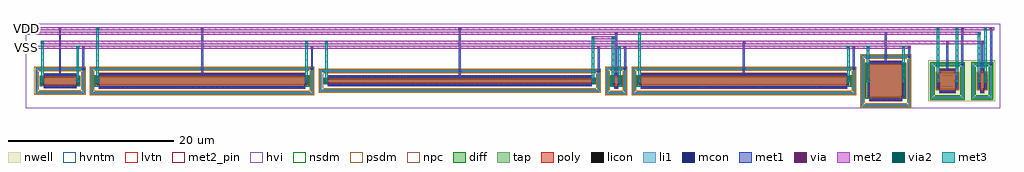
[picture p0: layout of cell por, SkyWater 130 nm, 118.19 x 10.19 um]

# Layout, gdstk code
import gdstk
lib = gdstk.Library(unit=1e-6, precision=1e-09)
def R(c, l, rs):  # rectangles x0, y0, x1, y1
    for r in rs: c.add(gdstk.rectangle(r[:2], r[2:], *l))
def A(c, l, x, y, w, h, nx, ny, dx, dy):  # array of equal rectangles
    R(c, l, [(x+i*dx, y+j*dy, x+i*dx+w, y+j*dy+h) for i in range(nx) for j in range(ny)])
nwell = (64, 20)
diff = (65, 20)
tap = (65, 44)
poly = (66, 20)
licon = (66, 44)
li1 = (67, 20)
mcon = (67, 44)
met1 = (68, 20)
via = (68, 44)
met2_pin = (69, 16)
met2 = (69, 20)
via2 = (69, 44)
met3 = (70, 20)
hvi = (75, 20)
nsdm = (93, 44)
psdm = (94, 20)
npc = (95, 20)
hvntm = (125, 20)
lvtn = (125, 44)

por = lib.new_cell('por')
R(por, nwell, [(109.32,0.81,113.9,5.78), (109.32,0.81,117.38,5.78), (114.3,0.81,117.38,5.78)])
R(por, diff, [(101.875,1.295,106.455,5.295), (110.32,2.295,112.9,4.295), (115.3,2.295,116.38,4.295), (8.565,2.795,34.145,3.795), (70.975,2.795,72.055,3.795), (74.175,2.795,99.755,3.795), (1.865,2.845,6.445,3.745), (36.265,3.085,68.845,3.505)])
R(por, tap, [(101.195,0.185,107.135,0.475), (101.195,0.475,101.485,6.115), (106.845,0.475,107.135,6.115), (109.65,1.14,113.57,1.43), (114.63,1.14,117.05,1.43), (109.65,1.43,109.94,5.16), (113.28,1.43,113.57,5.16), (114.63,1.43,114.92,5.16), (116.76,1.43,117.05,5.16), (7.895,1.685,34.815,1.975), (70.295,1.685,72.735,1.975), (73.505,1.685,100.425,1.975), (1.185,1.735,7.125,2.025), (7.895,1.975,8.185,4.615), (34.525,1.975,34.815,4.615), (35.585,1.975,69.525,2.265), (70.295,1.975,70.585,4.615), (72.445,1.975,72.735,4.615), (73.505,1.975,73.795,4.615), (100.135,1.975,100.425,4.615), (1.185,2.025,1.475,4.565), (6.835,2.025,7.125,4.565), (35.585,2.265,35.875,4.325), (69.235,2.265,69.525,4.325), (35.585,4.325,69.525,4.615), (1.185,4.565,7.125,4.855), (7.895,4.615,34.815,4.905), (70.295,4.615,72.735,4.905), (73.505,4.615,100.425,4.905), (109.65,5.16,113.57,5.45), (114.63,5.16,117.05,5.45), (101.195,6.115,107.135,6.405)])
R(por, poly, [(102.165,0.855,106.165,5.735), (110.61,1.81,112.61,4.78), (115.59,1.81,116.09,4.78), (8.855,2.355,33.855,4.235), (71.265,2.355,71.765,4.235), (74.465,2.355,99.465,4.235), (2.155,2.405,6.155,4.185), (36.555,2.645,68.555,3.945)])
A(por, licon, 101.87, 0.245, 0.17, 0.17, 14, 2, 0.34, 5.93)
A(por, licon, 101.255, 0.83, 0.17, 0.17, 1, 15, 0, 0.34)
A(por, licon, 106.905, 0.83, 0.17, 0.17, 1, 15, 0, 0.34)
A(por, licon, 102.38, 0.935, 0.17, 0.17, 11, 2, 0.34, 4.55)
A(por, licon, 110.335, 1.2, 0.17, 0.17, 8, 2, 0.34, 4.02)
A(por, licon, 115.245, 1.2, 0.17, 0.17, 4, 2, 0.34, 4.02)
A(por, licon, 101.935, 1.51, 0.17, 0.17, 1, 11, 0, 0.34)
A(por, licon, 106.225, 1.51, 0.17, 0.17, 1, 11, 0, 0.34)
A(por, licon, 109.71, 1.68, 0.17, 0.17, 1, 10, 0, 0.34)
A(por, licon, 113.34, 1.68, 0.17, 0.17, 1, 10, 0, 0.34)
A(por, licon, 114.69, 1.68, 0.17, 0.17, 1, 10, 0, 0.34)
A(por, licon, 116.82, 1.68, 0.17, 0.17, 1, 10, 0, 0.34)
A(por, licon, 8.52, 1.745, 0.17, 0.17, 76, 2, 0.34, 2.93)
A(por, licon, 70.92, 1.745, 0.17, 0.17, 4, 2, 0.34, 2.93)
A(por, licon, 74.13, 1.745, 0.17, 0.17, 76, 2, 0.34, 2.93)
A(por, licon, 1.86, 1.795, 0.17, 0.17, 14, 2, 0.34, 2.83)
A(por, licon, 110.845, 1.89, 0.17, 0.17, 5, 2, 0.34, 2.64)
A(por, licon, 36.15, 2.035, 0.17, 0.17, 97, 2, 0.34, 2.35)
A(por, licon, 1.245, 2.36, 0.17, 0.17, 1, 6, 0, 0.34)
A(por, licon, 6.895, 2.36, 0.17, 0.17, 1, 6, 0, 0.34)
A(por, licon, 7.955, 2.36, 0.17, 0.17, 1, 6, 0, 0.34)
A(por, licon, 34.585, 2.36, 0.17, 0.17, 1, 6, 0, 0.34)
A(por, licon, 70.355, 2.36, 0.17, 0.17, 1, 6, 0, 0.34)
A(por, licon, 72.505, 2.36, 0.17, 0.17, 1, 6, 0, 0.34)
A(por, licon, 73.565, 2.36, 0.17, 0.17, 1, 6, 0, 0.34)
A(por, licon, 100.195, 2.36, 0.17, 0.17, 1, 6, 0, 0.34)
A(por, licon, 110.38, 2.36, 0.17, 0.17, 1, 6, 0, 0.34)
A(por, licon, 112.67, 2.36, 0.17, 0.17, 1, 6, 0, 0.34)
A(por, licon, 115.36, 2.36, 0.17, 0.17, 1, 6, 0, 0.34)
A(por, licon, 116.15, 2.36, 0.17, 0.17, 1, 6, 0, 0.34)
A(por, licon, 9.03, 2.435, 0.17, 0.17, 73, 2, 0.34, 1.55)
A(por, licon, 74.64, 2.435, 0.17, 0.17, 73, 2, 0.34, 1.55)
A(por, licon, 2.37, 2.485, 0.17, 0.17, 11, 2, 0.34, 1.45)
A(por, licon, 35.645, 2.53, 0.17, 0.17, 1, 5, 0, 0.34)
A(por, licon, 69.295, 2.53, 0.17, 0.17, 1, 5, 0, 0.34)
A(por, licon, 36.66, 2.725, 0.17, 0.17, 94, 2, 0.34, 0.97)
A(por, licon, 8.625, 2.87, 0.17, 0.17, 1, 3, 0, 0.34)
A(por, licon, 33.915, 2.87, 0.17, 0.17, 1, 3, 0, 0.34)
A(por, licon, 71.035, 2.87, 0.17, 0.17, 1, 3, 0, 0.34)
A(por, licon, 71.825, 2.87, 0.17, 0.17, 1, 3, 0, 0.34)
A(por, licon, 74.235, 2.87, 0.17, 0.17, 1, 3, 0, 0.34)
A(por, licon, 99.525, 2.87, 0.17, 0.17, 1, 3, 0, 0.34)
R(por, licon, [(115.755,1.89,115.925,2.06), (71.43,2.435,71.6,2.605), (1.925,3.04,2.095,3.21), (6.215,3.04,6.385,3.21), (36.325,3.21,36.495,3.38), (68.615,3.21,68.785,3.38), (1.925,3.38,2.095,3.55), (6.215,3.38,6.385,3.55), (71.43,3.985,71.6,4.155), (115.755,4.53,115.925,4.7)])
R(por, li1, [(101.255,0.245,107.075,0.415), (101.255,0.415,101.425,6.175), (106.905,0.415,107.075,6.175), (102.165,0.935,106.165,1.105), (109.71,1.2,113.51,1.37), (114.69,1.2,116.99,1.37), (101.935,1.275,102.105,5.315), (106.225,1.275,106.395,5.315), (109.71,1.37,109.88,5.22), (113.34,1.37,113.51,5.22), (114.69,1.37,114.86,5.22), (116.82,1.37,116.99,5.22), (7.955,1.745,34.755,1.915), (70.355,1.745,72.675,1.915), (73.565,1.745,100.365,1.915), (1.245,1.795,7.065,1.965), (110.61,1.89,112.61,2.06), (115.59,1.89,116.09,2.06), (7.955,1.915,8.125,4.675), (34.585,1.915,34.755,4.675), (70.355,1.915,70.525,4.675), (72.505,1.915,72.675,4.675), (73.565,1.915,73.735,4.675), (100.195,1.915,100.365,4.675), (1.245,1.965,1.415,4.625), (6.895,1.965,7.065,4.625), (35.645,2.035,69.465,2.205), (35.645,2.205,35.815,4.385), (69.295,2.205,69.465,4.385), (110.38,2.275,110.55,4.315), (112.67,2.275,112.84,4.315), (115.36,2.275,115.53,4.315), (116.15,2.275,116.32,4.315), (8.855,2.435,33.855,2.605), (71.265,2.435,71.765,2.605), (74.465,2.435,99.465,2.605), (2.155,2.485,6.155,2.655), (36.555,2.725,68.555,2.895), (8.625,2.775,8.795,3.815), (33.915,2.775,34.085,3.815), (71.035,2.775,71.205,3.815), (71.825,2.775,71.995,3.815), (74.235,2.775,74.405,3.815), (99.525,2.775,99.695,3.815), (1.925,2.825,2.095,3.765), (6.215,2.825,6.385,3.765), (36.325,3.065,36.495,3.525), (68.615,3.065,68.785,3.525), (36.555,3.695,68.555,3.865), (2.155,3.935,6.155,4.105), (8.855,3.985,33.855,4.155), (71.265,3.985,71.765,4.155), (74.465,3.985,99.465,4.155), (35.645,4.385,69.465,4.555), (110.61,4.53,112.61,4.7), (115.59,4.53,116.09,4.7), (1.245,4.625,7.065,4.795), (7.955,4.675,34.755,4.845), (70.355,4.675,72.675,4.845), (73.565,4.675,100.365,4.845), (109.71,5.22,113.51,5.39), (114.69,5.22,116.99,5.39), (102.165,5.485,106.165,5.655), (101.255,6.175,107.075,6.345)])
A(por, mcon, 102.28, 0.935, 0.17, 0.17, 11, 2, 0.36, 4.55)
A(por, mcon, 101.935, 1.41, 0.17, 0.17, 1, 11, 0, 0.36)
A(por, mcon, 106.225, 1.41, 0.17, 0.17, 1, 11, 0, 0.36)
A(por, mcon, 110.805, 1.89, 0.17, 0.17, 5, 2, 0.36, 2.64)
A(por, mcon, 9.03, 2.435, 0.17, 0.17, 69, 2, 0.36, 1.55)
A(por, mcon, 74.64, 2.435, 0.17, 0.17, 69, 2, 0.36, 1.55)
A(por, mcon, 2.27, 2.485, 0.17, 0.17, 11, 2, 0.36, 1.45)
A(por, mcon, 110.38, 2.49, 0.17, 0.17, 1, 5, 0, 0.36)
A(por, mcon, 112.67, 2.49, 0.17, 0.17, 1, 5, 0, 0.36)
A(por, mcon, 115.36, 2.49, 0.17, 0.17, 1, 5, 0, 0.36)
A(por, mcon, 116.15, 2.49, 0.17, 0.17, 1, 5, 0, 0.36)
A(por, mcon, 36.81, 2.725, 0.17, 0.17, 88, 2, 0.36, 0.97)
R(por, mcon, [(115.755,1.89,115.925,2.06), (71.43,2.435,71.6,2.605), (1.925,3.03,2.095,3.2), (6.215,3.03,6.385,3.2), (8.625,3.03,8.795,3.2), (33.915,3.03,34.085,3.2), (71.035,3.03,71.205,3.2), (71.825,3.03,71.995,3.2), (74.235,3.03,74.405,3.2), (99.525,3.03,99.695,3.2), (36.325,3.21,36.495,3.38), (68.615,3.21,68.785,3.38), (1.925,3.39,2.095,3.56), (6.215,3.39,6.385,3.56), (8.625,3.39,8.795,3.56), (33.915,3.39,34.085,3.56), (71.035,3.39,71.205,3.56), (71.825,3.39,71.995,3.56), (74.235,3.39,74.405,3.56), (99.525,3.39,99.695,3.56), (71.43,3.985,71.6,4.155), (69.295,4.385,69.465,4.555), (115.755,4.53,115.925,4.7), (6.895,4.625,7.065,4.795), (34.585,4.675,34.755,4.845), (72.505,4.675,72.675,4.845), (100.195,4.675,100.365,4.845), (113.34,5.22,113.51,5.39), (116.82,5.22,116.99,5.39), (106.905,6.175,107.075,6.345)])
R(por, met1, [(102.185,0.905,106.145,1.135), (101.905,1.295,102.135,5.295), (106.195,1.295,106.425,5.295), (110.63,1.86,112.59,2.09), (115.61,1.86,116.07,2.09), (110.35,2.295,110.58,4.295), (112.64,2.295,112.87,4.295), (115.33,2.295,115.56,4.295), (116.12,2.295,116.35,4.295), (8.875,2.405,33.835,2.635), (71.285,2.405,71.745,2.635), (74.485,2.405,99.445,2.635), (2.175,2.455,6.135,2.685), (36.575,2.695,68.535,2.925), (8.595,2.795,8.825,3.795), (33.885,2.795,34.115,3.795), (71.005,2.795,71.235,3.795), (71.795,2.795,72.025,3.795), (74.205,2.795,74.435,3.795), (99.495,2.795,99.725,3.795), (1.895,2.845,2.125,3.745), (6.185,2.845,6.415,3.745), (36.295,3.085,36.525,3.505), (68.585,3.085,68.815,3.505), (1.85,3.135,2.17,3.455), (6.14,3.135,6.46,3.455), (8.55,3.135,8.87,3.455), (33.84,3.135,34.16,3.455), (36.25,3.135,36.57,3.455), (68.54,3.135,68.86,3.455), (70.96,3.135,71.28,3.455), (71.75,3.135,72.07,3.455), (74.16,3.135,74.48,3.455), (99.45,3.135,99.77,3.455), (101.86,3.135,102.18,3.455), (106.15,3.135,106.47,3.455), (110.305,3.135,110.625,3.455), (112.595,3.135,112.915,3.455), (115.285,3.135,115.605,3.455), (116.075,3.135,116.395,3.455), (36.575,3.665,68.535,3.895), (52.44,3.665,52.67,9.705), (2.175,3.905,6.135,4.135), (4.04,3.905,4.27,9.705), (8.875,3.955,33.835,4.185), (21.24,3.955,21.47,9.705), (71.285,3.955,71.745,4.185), (71.4,3.955,71.63,9.155), (74.485,3.955,99.445,4.185), (86.85,3.955,87.08,8.055), (69.235,4.325,69.525,4.615), (69.265,4.355,69.495,7.505), (110.63,4.5,112.59,4.73), (111.495,4.5,111.725,8.055), (115.61,4.5,116.07,4.73), (115.725,4.5,115.955,8.055), (6.835,4.565,7.125,4.855), (6.865,4.595,7.095,7.505), (34.525,4.615,34.815,4.905), (72.445,4.615,72.735,4.905), (100.135,4.615,100.425,4.905), (34.555,4.645,34.785,7.505), (72.475,4.645,72.705,7.505), (100.165,4.645,100.395,7.505), (113.28,5.16,113.57,5.45), (116.76,5.16,117.05,5.45), (113.31,5.19,113.54,9.705), (116.79,5.19,117.02,9.705), (102.185,5.455,106.145,5.685), (104.05,5.455,104.28,9.155), (106.845,6.115,107.135,6.405), (106.875,6.145,107.105,7.505), (6.82,7.23,7.14,7.55), (34.51,7.23,34.83,7.55), (69.22,7.23,69.54,7.55), (72.43,7.23,72.75,7.55), (100.12,7.23,100.44,7.55), (106.83,7.23,107.15,7.55), (86.805,7.78,87.125,8.1), (111.45,7.78,111.77,8.1), (115.68,7.78,116,8.1), (71.355,8.88,71.675,9.2), (104.005,8.88,104.325,9.2), (3.995,9.43,4.315,9.75), (21.195,9.43,21.515,9.75), (52.395,9.43,52.715,9.75), (113.265,9.43,113.585,9.75), (116.745,9.43,117.065,9.75)])
R(por, via, [(1.935,3.22,2.085,3.37), (6.225,3.22,6.375,3.37), (8.635,3.22,8.785,3.37), (33.925,3.22,34.075,3.37), (36.335,3.22,36.485,3.37), (68.625,3.22,68.775,3.37), (71.045,3.22,71.195,3.37), (71.835,3.22,71.985,3.37), (74.245,3.22,74.395,3.37), (99.535,3.22,99.685,3.37), (101.945,3.22,102.095,3.37), (106.235,3.22,106.385,3.37), (110.39,3.22,110.54,3.37), (112.68,3.22,112.83,3.37), (115.37,3.22,115.52,3.37), (116.16,3.22,116.31,3.37), (6.905,7.315,7.055,7.465), (34.595,7.315,34.745,7.465), (69.305,7.315,69.455,7.465), (72.515,7.315,72.665,7.465), (100.205,7.315,100.355,7.465), (106.915,7.315,107.065,7.465), (86.89,7.865,87.04,8.015), (111.535,7.865,111.685,8.015), (115.765,7.865,115.915,8.015), (71.44,8.965,71.59,9.115), (104.09,8.965,104.24,9.115), (4.08,9.515,4.23,9.665), (21.28,9.515,21.43,9.665), (52.48,9.515,52.63,9.665), (113.35,9.515,113.5,9.665), (116.83,9.515,116.98,9.665)])
R(por, met2_pin, [(0.03,7.27,0.27,7.51), (0.03,8.92,0.27,9.16), (0.03,9.47,0.27,9.71)])
R(por, met2, [(1.825,3.11,2.195,3.48), (6.115,3.11,6.485,3.48), (8.525,3.11,8.895,3.48), (33.815,3.11,34.185,3.48), (36.225,3.11,36.595,3.48), (68.515,3.11,68.885,3.48), (70.935,3.11,71.305,3.48), (71.725,3.11,72.095,3.48), (74.135,3.11,74.505,3.48), (99.425,3.11,99.795,3.48), (101.835,3.11,102.205,3.48), (106.125,3.11,106.495,3.48), (110.28,3.11,110.65,3.48), (112.57,3.11,112.94,3.48), (115.26,3.11,115.63,3.48), (116.05,3.11,116.42,3.48), (1.85,3.135,2.17,3.455), (6.14,3.135,6.46,3.455), (8.55,3.135,8.87,3.455), (33.84,3.135,34.16,3.455), (36.25,3.135,36.57,3.455), (68.54,3.135,68.86,3.455), (70.96,3.135,71.28,3.455), (71.75,3.135,72.07,3.455), (74.16,3.135,74.48,3.455), (99.45,3.135,99.77,3.455), (101.86,3.135,102.18,3.455), (106.15,3.135,106.47,3.455), (110.305,3.135,110.625,3.455), (112.595,3.135,112.915,3.455), (115.285,3.135,115.605,3.455), (116.075,3.135,116.395,3.455), (-0.035,7.205,107.175,7.575), (6.115,7.205,6.485,7.575), (71.725,7.205,72.095,7.575), (99.425,7.205,99.795,7.575), (101.835,7.205,102.205,7.575), (106.125,7.205,106.495,7.575), (6.82,7.23,7.14,7.55), (34.51,7.23,34.83,7.55), (69.22,7.23,69.54,7.55), (72.43,7.23,72.75,7.55), (100.12,7.23,100.44,7.55), (106.83,7.23,107.15,7.55), (1.825,7.755,2.195,8.125), (1.825,7.755,116.025,8.125), (33.815,7.755,34.185,8.125), (36.225,7.755,36.595,8.125), (86.805,7.78,87.125,8.1), (111.45,7.78,111.77,8.1), (115.68,7.78,116,8.1), (68.515,8.305,68.885,8.675), (68.515,8.305,71.305,8.675), (70.935,8.305,71.305,8.675), (-0.035,8.855,115.63,9.225), (74.135,8.855,74.505,9.225), (115.26,8.855,115.63,9.225), (71.355,8.88,71.675,9.2), (104.005,8.88,104.325,9.2), (-0.035,9.405,117.09,9.775), (8.525,9.405,8.895,9.775), (110.28,9.405,110.65,9.775), (112.57,9.405,112.94,9.775), (116.05,9.405,116.42,9.775), (3.995,9.43,4.315,9.75), (21.195,9.43,21.515,9.75), (52.395,9.43,52.715,9.75), (113.265,9.43,113.585,9.75), (116.745,9.43,117.065,9.75)])
R(por, via2, [(1.91,3.195,2.11,3.395), (6.2,3.195,6.4,3.395), (8.61,3.195,8.81,3.395), (33.9,3.195,34.1,3.395), (36.31,3.195,36.51,3.395), (68.6,3.195,68.8,3.395), (71.02,3.195,71.22,3.395), (71.81,3.195,72.01,3.395), (74.22,3.195,74.42,3.395), (99.51,3.195,99.71,3.395), (101.92,3.195,102.12,3.395), (106.21,3.195,106.41,3.395), (110.365,3.195,110.565,3.395), (112.655,3.195,112.855,3.395), (115.345,3.195,115.545,3.395), (116.135,3.195,116.335,3.395), (6.2,7.29,6.4,7.49), (71.81,7.29,72.01,7.49), (99.51,7.29,99.71,7.49), (101.92,7.29,102.12,7.49), (106.21,7.29,106.41,7.49), (1.91,7.84,2.11,8.04), (33.9,7.84,34.1,8.04), (36.31,7.84,36.51,8.04), (68.6,8.39,68.8,8.59), (71.02,8.39,71.22,8.59), (74.22,8.94,74.42,9.14), (115.345,8.94,115.545,9.14), (8.61,9.49,8.81,9.69), (110.365,9.49,110.565,9.69), (112.655,9.49,112.855,9.69), (116.135,9.49,116.335,9.69)])
R(por, met3, [(1.845,3.13,2.175,3.46), (6.135,3.13,6.465,3.46), (8.545,3.13,8.875,3.46), (33.835,3.13,34.165,3.46), (36.245,3.13,36.575,3.46), (68.535,3.13,68.865,3.46), (70.955,3.13,71.285,3.46), (71.745,3.13,72.075,3.46), (74.155,3.13,74.485,3.46), (99.445,3.13,99.775,3.46), (101.855,3.13,102.185,3.46), (106.145,3.13,106.475,3.46), (110.3,3.13,110.63,3.46), (112.59,3.13,112.92,3.46), (115.28,3.13,115.61,3.46), (116.07,3.13,116.4,3.46), (1.86,3.145,2.16,8.09), (6.15,3.145,6.45,7.54), (8.56,3.145,8.86,9.74), (33.85,3.145,34.15,8.09), (36.26,3.145,36.56,8.09), (68.55,3.145,68.85,8.64), (70.97,3.145,71.27,8.64), (71.76,3.145,72.06,7.54), (74.17,3.145,74.47,9.19), (99.46,3.145,99.76,7.54), (101.87,3.145,102.17,7.54), (106.16,3.145,106.46,7.54), (110.315,3.145,110.615,9.74), (112.605,3.145,112.905,9.74), (115.295,3.145,115.595,9.19), (116.085,3.145,116.385,9.74), (6.135,7.225,6.465,7.555), (71.745,7.225,72.075,7.555), (99.445,7.225,99.775,7.555), (101.855,7.225,102.185,7.555), (106.145,7.225,106.475,7.555), (1.845,7.775,2.175,8.105), (33.835,7.775,34.165,8.105), (36.245,7.775,36.575,8.105), (68.535,8.325,68.865,8.655), (70.955,8.325,71.285,8.655), (74.155,8.875,74.485,9.205), (115.28,8.875,115.61,9.205), (8.545,9.425,8.875,9.755), (110.3,9.425,110.63,9.755), (112.59,9.425,112.92,9.755), (116.07,9.425,116.4,9.755)])
R(por, hvi, [(0,0,117.98,10.19), (101.01,0,107.32,6.59), (109.32,0.81,113.9,5.78), (114.3,0.81,117.38,5.78), (7.71,1.5,35,5.09), (70.11,1.5,72.92,5.09), (73.32,1.5,100.61,5.09), (1,1.55,7.31,5.04), (35.4,1.79,69.71,4.8)])
R(por, nsdm, [(109.525,1.015,113.695,1.555), (114.505,1.015,117.175,1.555), (101.75,1.17,106.58,5.42), (109.525,1.555,110.065,5.035), (113.155,1.555,113.695,5.035), (114.505,1.555,115.045,5.035), (116.635,1.555,117.175,5.035), (8.44,2.67,34.27,3.92), (70.85,2.67,72.18,3.92), (74.05,2.67,99.88,3.92), (1.74,2.72,6.57,3.87), (36.14,2.96,68.97,3.63), (109.525,5.035,113.695,5.575), (114.505,5.035,117.175,5.575)])
R(por, psdm, [(101.07,0.06,107.26,0.6), (101.07,0.6,101.61,5.99), (106.72,0.6,107.26,5.99), (7.77,1.56,34.94,2.1), (70.17,1.56,72.86,2.1), (73.38,1.56,100.55,2.1), (1.06,1.61,7.25,2.15), (35.46,1.85,69.65,2.39), (7.77,2.1,8.31,4.49), (34.4,2.1,34.94,4.49), (70.17,2.1,70.71,4.49), (72.32,2.1,72.86,4.49), (73.38,2.1,73.92,4.49), (100.01,2.1,100.55,4.49), (1.06,2.15,1.6,4.44), (6.71,2.15,7.25,4.44), (110.195,2.17,113.025,4.42), (115.175,2.17,116.505,4.42), (35.46,2.39,36,4.2), (69.11,2.39,69.65,4.2), (35.46,4.2,69.65,4.74), (1.06,4.44,7.25,4.98), (7.77,4.49,34.94,5.03), (70.17,4.49,72.86,5.03), (73.38,4.49,100.55,5.03), (101.07,5.99,107.26,6.53)])
R(por, npc, [(102.28,0.835,106.05,1.205), (110.745,1.79,112.475,2.16), (115.655,1.79,116.025,2.16), (8.93,2.335,33.78,2.705), (71.33,2.335,71.7,2.705), (74.54,2.335,99.39,2.705), (2.27,2.385,6.04,2.755), (36.56,2.625,68.55,2.995), (36.56,3.595,68.55,3.965), (2.27,3.835,6.04,4.205), (8.93,3.885,33.78,4.255), (71.33,3.885,71.7,4.255), (74.54,3.885,99.39,4.255), (110.745,4.43,112.475,4.8), (115.655,4.43,116.025,4.8), (102.28,5.385,106.05,5.755)])
R(por, hvntm, [(101.69,1.11,106.64,5.48), (8.38,2.61,34.33,3.98), (70.79,2.61,72.24,3.98), (73.99,2.61,99.94,3.98), (1.68,2.66,6.63,3.93), (36.08,2.9,69.03,3.69)])
R(por, lvtn, [(8.675,2.615,34.035,3.975), (74.285,2.615,99.645,3.975)])
por.add(gdstk.FlexPath([(-0.035,9.59),(117.09,9.59)], 0.35, ends="extended", simple_path=True, layer=69, datatype=20))  # met2
por.add(gdstk.Label('VSS', (0.15,7.39), layer=69, texttype=5))
por.add(gdstk.Label('POR_N', (0.15,9.04), layer=69, texttype=5))
por.add(gdstk.Label('VDD', (0.15,9.59), layer=69, texttype=5))

lib.write_gds('por.gds')
